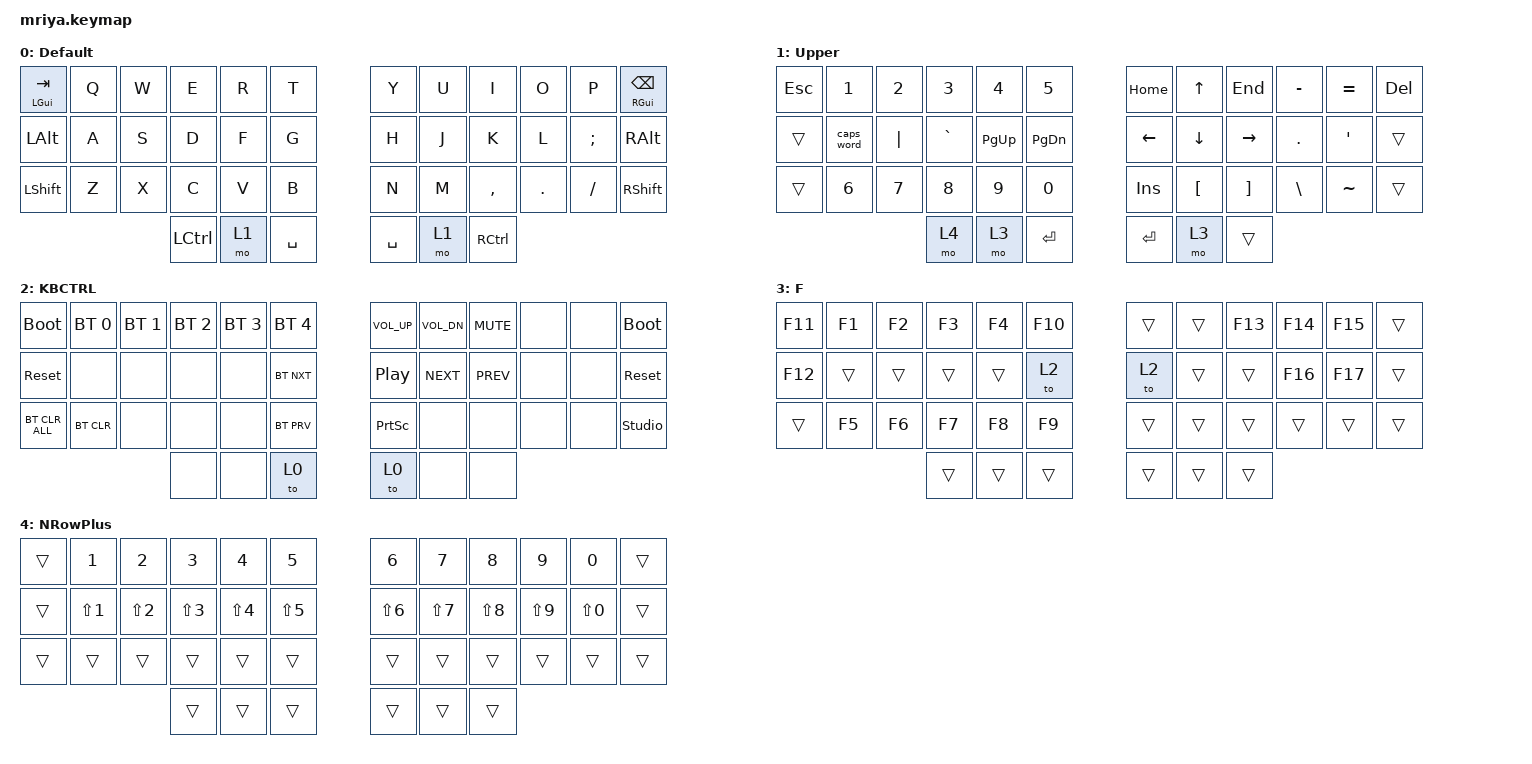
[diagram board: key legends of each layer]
/*
 * Copyright (c) 2020 The ZMK Contributors
 *
 * SPDX-License-Identifier: MIT
 */

#include <behaviors.dtsi>
#include <dt-bindings/zmk/bt.h>
#include <dt-bindings/zmk/keys.h>

#define BASE   0
#define LOWER  1
#define RAISE  2
#define ADJUST 3
#define NAVI   4

&lt {
};

&mt { flavor = "balanced"; };

/ {
};

/ {
    combos {
        compatible = "zmk,combos";

        ju-enter {
            bindings = <&kp ENTER>;
            key-positions = <7 19>;
        };

        fr-enter {
            bindings = <&kp ENTER>;
            key-positions = <16 4>;
        };
    };
};

/ {
    keymap {
        compatible = "zmk,keymap";

        // ▄▄▄▄▄▄▄▄▄▄▄▄▄▄▄▄▄▄▄▄▄▄▄▄▄▄▄▄▄▄▄▄▄▄▄▄▄▄▄▄▄▄▄▄▄▄▄▄▄▄▄▄▄▄▄▄▄▄▄▄▄▄▄▄▄▄▄▄▄▄▄▄▄▄▄▄▄▄▄▄▄▄▄▄▄▄▄▄▄▄▄▄▄▄▄▄▄▄▄▄▄▄▄▄▄▄▄▄▄▄▄▄▄▄

        default_layer {
            label = "Default";
            /*
┌───────┬───────┬───────┬───────┬───────┬───────┐                   ┌───────┬───────┬───────┬───────┬───────┬───────┐
│TAB/CMD│   Q   │   W   │   E   │   R   │   T   │                   │   Y   │   U   │   I   │   O   │   P   │BSP/CMD│
├───────┼───────┼───────┼───────┼───────┼───────┤                   ├───────┼───────┼───────┼───────┼───────┼───────┤
│ LALT  │   A   │   S   │   D   │   F   │   G   │                   │   H   │   J   │   K   │   L   │   ;   │ RALT  │
├───────┼───────┼───────┼───────┼───────┼───────┤                   ├───────┼───────┼───────┼───────┼───────┼───────┤
│ LSHFT │   Z   │   X   │   C   │   V   │   B   │                   │   N   │   M   │   ,   │   .   │   /   │ RSHFT │
└───────┴───────┴───────┴───────┼───────┼───────┼───────┐   ┌───────┼───────┼───────┼───────┴───────┴───────┴───────┘
                                │ LCTRL │  L1   │ SPACE │   │ SPACE │  L1   │ RCTRL │
                                └───────┴───────┴───────┘   └───────┴───────┴───────┘
            */
            bindings = <
&mt LGUI TAB    &kp Q  &kp W  &kp E  &kp R             &kp T                        &kp Y  &kp U              &kp I      &kp O    &kp P     &mt RGUI BACKSPACE
&kp LEFT_ALT    &kp A  &kp S  &kp D  &kp F             &kp G                        &kp H  &kp J              &kp K      &kp L    &kp SEMI  &kp RIGHT_ALT
&kp LEFT_SHIFT  &kp Z  &kp X  &kp C  &kp V             &kp B                        &kp N  &kp M              &kp COMMA  &kp DOT  &kp FSLH  &kp RIGHT_SHIFT
                                     &kp LEFT_CONTROL  &mo 1  &kp SPACE  &kp SPACE  &mo 1  &kp RIGHT_CONTROL
            >;
        };

        // ▄▄▄▄▄▄▄▄▄▄▄▄▄▄▄▄▄▄▄▄▄▄▄▄▄▄▄▄▄▄▄▄▄▄▄▄▄▄▄▄▄▄▄▄▄▄▄▄▄▄▄▄▄▄▄▄▄▄▄▄▄▄▄▄▄▄▄▄▄▄▄▄▄▄▄▄▄▄▄▄▄▄▄▄▄▄▄▄▄▄▄▄▄▄▄▄▄▄▄▄▄▄▄▄▄▄▄▄▄▄▄▄▄▄

        upper {
            label = "Upper";
            /*
┌───────┬───────┬───────┬───────┬───────┬───────┐                   ┌───────┬───────┬───────┬───────┬───────┬───────┐
│  ESC  │   1   │   2   │   3   │   4   │   5   │                   │ HOME  │   ↑   │  END  │   -   │   =   │  DEL  │
├───────┼───────┼───────┼───────┼───────┼───────┤                   ├───────┼───────┼───────┼───────┼───────┼───────┤
│   ▽   │ CAPS  │   |   │   `   │ PGUP  │ PGDN  │                   │   ←   │   ↓   │   →   │   .   │   '   │   ▽   │
├───────┼───────┼───────┼───────┼───────┼───────┤                   ├───────┼───────┼───────┼───────┼───────┼───────┤
│   ▽   │   6   │   7   │   8   │   9   │   0   │                   │  INS  │   [   │   ]   │   \   │   ~   │   ▽   │
└───────┴───────┴───────┴───────┼───────┼───────┼───────┐   ┌───────┼───────┼───────┼───────┴───────┴───────┴───────┘
                                │  L4   │  L3   │ ENTER │   │ ENTER │  L3   │   ▽   │
                                └───────┴───────┴───────┘   └───────┴───────┴───────┘
            */
            bindings = <
&kp ESC  &kp NUMBER_1  &kp NUMBER_2  &kp NUMBER_3  &kp NUMBER_4  &kp NUMBER_5                        &kp HOME    &kp UP            &kp END            &kp MINUS      &kp EQUAL         &kp DELETE
&trans   &caps_word    &kp PIPE      &kp GRAVE     &kp PG_UP     &kp PG_DN                           &kp LEFT    &kp DOWN          &kp RIGHT          &kp DOT        &kp SINGLE_QUOTE  &trans
&trans   &kp NUMBER_6  &kp NUMBER_7  &kp NUMBER_8  &kp NUMBER_9  &kp NUMBER_0                        &kp INSERT  &kp LEFT_BRACKET  &kp RIGHT_BRACKET  &kp BACKSLASH  &kp TILDE         &trans
                                                   &mo 4         &mo 3         &kp ENTER  &kp ENTER  &mo 3       &trans
            >;
        };

        // ▄▄▄▄▄▄▄▄▄▄▄▄▄▄▄▄▄▄▄▄▄▄▄▄▄▄▄▄▄▄▄▄▄▄▄▄▄▄▄▄▄▄▄▄▄▄▄▄▄▄▄▄▄▄▄▄▄▄▄▄▄▄▄▄▄▄▄▄▄▄▄▄▄▄▄▄▄▄▄▄▄▄▄▄▄▄▄▄▄▄▄▄▄▄▄▄▄▄▄▄▄▄▄▄▄▄▄▄▄▄▄▄▄▄

        kb_control_layer {
            label = "KBCTRL";
            /*
┌───────┬───────┬───────┬───────┬───────┬───────┐                   ┌───────┬───────┬───────┬───────┬───────┬───────┐
│ BOOT  │  BT0  │  BT1  │  BT2  │  BT3  │  BT4  │                   │ VOL+  │ VOL-  │ MUTE  │       │       │ BOOT  │
├───────┼───────┼───────┼───────┼───────┼───────┤                   ├───────┼───────┼───────┼───────┼───────┼───────┤
│ RESET │       │       │       │       │ BTNXT │                   │ PLAY  │ NEXT  │ PREV  │       │       │ RESET │
├───────┼───────┼───────┼───────┼───────┼───────┤                   ├───────┼───────┼───────┼───────┼───────┼───────┤
│CLRALL │BTCLR  │       │       │       │ BTPRV │                   │ PSCRN │       │       │       │       │STUDIO │
└───────┴───────┴───────┴───────┼───────┼───────┼───────┐   ┌───────┼───────┼───────┼───────┴───────┴───────┴───────┘
                                │       │       │  TO0  │   │  TO0  │       │       │
                                └───────┴───────┴───────┘   └───────┴───────┴───────┘
            */
            bindings = <
&bootloader     &bt BT_SEL 0  &bt BT_SEL 1  &bt BT_SEL 2  &bt BT_SEL 3  &bt BT_SEL 4                &kp C_VOL_UP  &kp C_VOL_DN  &kp C_MUTE  &none          &none  &bootloader
&sys_reset      &none         &none         &none         &none         &bt BT_NXT                  &kp C_PP      &kp C_NEXT    &kp C_PREV  &none          &none  &sys_reset
&bt BT_CLR_ALL  &bt BT_CLR    &none         &none         &none         &bt BT_PRV                  &kp PSCRN     &none         &none       &none          &none  &studio_unlock
                                                          &none         &none         &to 0  &to 0  &none         &none
            >;
        };

        // ▄▄▄▄▄▄▄▄▄▄▄▄▄▄▄▄▄▄▄▄▄▄▄▄▄▄▄▄▄▄▄▄▄▄▄▄▄▄▄▄▄▄▄▄▄▄▄▄▄▄▄▄▄▄▄▄▄▄▄▄▄▄▄▄▄▄▄▄▄▄▄▄▄▄▄▄▄▄▄▄▄▄▄▄▄▄▄▄▄▄▄▄▄▄▄▄▄▄▄▄▄▄▄▄▄▄▄▄▄▄▄▄▄▄

        flayer {
            label = "F";
            /*
┌───────┬───────┬───────┬───────┬───────┬───────┐                   ┌───────┬───────┬───────┬───────┬───────┬───────┐
│  F11  │  F1   │  F2   │  F3   │  F4   │  F10  │                   │   ▽   │   ▽   │  F13  │  F14  │  F15  │   ▽   │
├───────┼───────┼───────┼───────┼───────┼───────┤                   ├───────┼───────┼───────┼───────┼───────┼───────┤
│  F12  │   ▽   │   ▽   │   ▽   │   ▽   │  TO2  │                   │  TO2  │   ▽   │   ▽   │  F16  │  F17  │   ▽   │
├───────┼───────┼───────┼───────┼───────┼───────┤                   ├───────┼───────┼───────┼───────┼───────┼───────┤
│   ▽   │  F5   │  F6   │  F7   │  F8   │  F9   │                   │   ▽   │   ▽   │   ▽   │   ▽   │   ▽   │   ▽   │
└───────┴───────┴───────┴───────┼───────┼───────┼───────┐   ┌───────┼───────┼───────┼───────┴───────┴───────┴───────┘
                                │   ▽   │   ▽   │   ▽   │   │   ▽   │   ▽   │   ▽   │
                                └───────┴───────┴───────┘   └───────┴───────┴───────┘
            */
            bindings = <
&kp F11  &kp F1  &kp F2  &kp F3  &kp F4  &kp F10                  &trans  &trans  &kp F13  &kp F14  &kp F15  &trans
&kp F12  &trans  &trans  &trans  &trans  &to 2                    &to 2   &trans  &trans   &kp F16  &kp F17  &trans
&trans   &kp F5  &kp F6  &kp F7  &kp F8  &kp F9                   &trans  &trans  &trans   &trans   &trans   &trans
                                 &trans  &trans   &trans  &trans  &trans  &trans
            >;
        };

        // ▄▄▄▄▄▄▄▄▄▄▄▄▄▄▄▄▄▄▄▄▄▄▄▄▄▄▄▄▄▄▄▄▄▄▄▄▄▄▄▄▄▄▄▄▄▄▄▄▄▄▄▄▄▄▄▄▄▄▄▄▄▄▄▄▄▄▄▄▄▄▄▄▄▄▄▄▄▄▄▄▄▄▄▄▄▄▄▄▄▄▄▄▄▄▄▄▄▄▄▄▄▄▄▄▄▄▄▄▄▄▄▄▄▄

        nrow_plus_layer {
            label = "NRowPlus";
            /*
┌───────┬───────┬───────┬───────┬───────┬───────┐                   ┌───────┬───────┬───────┬───────┬───────┬───────┐
│   ▽   │   1   │   2   │   3   │   4   │   5   │                   │   6   │   7   │   8   │   9   │   0   │   ▽   │
├───────┼───────┼───────┼───────┼───────┼───────┤                   ├───────┼───────┼───────┼───────┼───────┼───────┤
│   ▽   │   !   │   @   │   #   │   $   │   %   │                   │   ^   │   &   │   *   │   (   │   )   │   ▽   │
├───────┼───────┼───────┼───────┼───────┼───────┤                   ├───────┼───────┼───────┼───────┼───────┼───────┤
│   ▽   │   ▽   │   ▽   │   ▽   │   ▽   │   ▽   │                   │   ▽   │   ▽   │   ▽   │   ▽   │   ▽   │   ▽   │
└───────┴───────┴───────┴───────┼───────┼───────┼───────┐   ┌───────┼───────┼───────┼───────┴───────┴───────┴───────┘
                                │   ▽   │   ▽   │   ▽   │   │   ▽   │   ▽   │   ▽   │
                                └───────┴───────┴───────┘   └───────┴───────┴───────┘
            */
            bindings = <
&trans  &kp NUMBER_1      &kp NUMBER_2      &kp NUMBER_3      &kp NUMBER_4      &kp NUMBER_5                      &kp NUMBER_6      &kp NUMBER_7      &kp NUMBER_8      &kp NUMBER_9      &kp NUMBER_0      &trans
&trans  &kp LS(NUMBER_1)  &kp LS(NUMBER_2)  &kp LS(NUMBER_3)  &kp LS(NUMBER_4)  &kp LS(NUMBER_5)                  &kp LS(NUMBER_6)  &kp LS(NUMBER_7)  &kp LS(NUMBER_8)  &kp LS(NUMBER_9)  &kp LS(NUMBER_0)  &trans
&trans  &trans            &trans            &trans            &trans            &trans                            &trans            &trans            &trans            &trans            &trans            &trans
                                                              &trans            &trans            &trans  &trans  &trans            &trans
            >;
        };
    };
};
